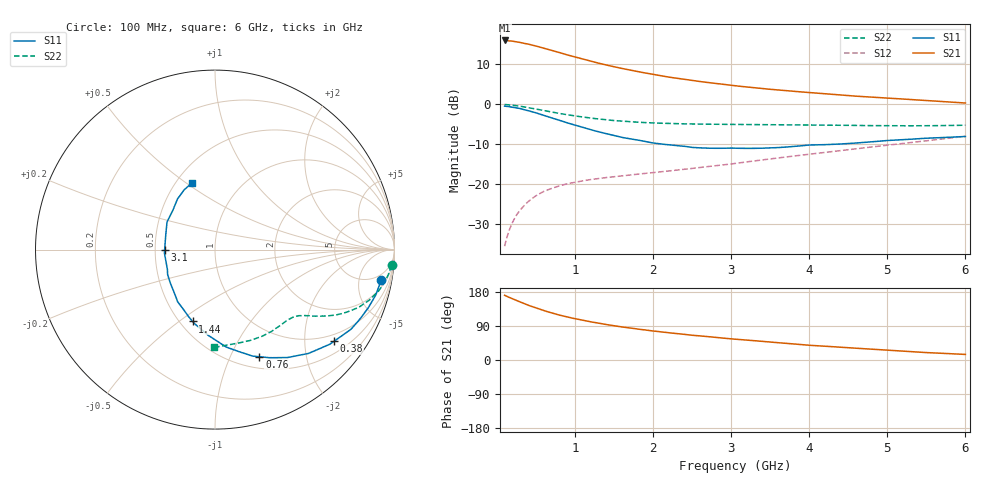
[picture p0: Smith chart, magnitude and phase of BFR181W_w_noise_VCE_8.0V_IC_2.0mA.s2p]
! Infineon Technologies  Discrete & RF Semiconductors
! BFR181W
! VCE =  8.0 V,  IC =  2.0 mA
! Common Emitter S-Parameters:  Nov 2015
# GHz  S  MA  R  50
!  f  S11  S21  S12  S22
! GHz  MAG  ANG  MAG  ANG  MAG  ANG  MAG  ANG
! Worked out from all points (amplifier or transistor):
!   192 points, 100 MHz to 6 GHz, reference 50 ohm
!   highest |S21| = 15.9 dB at 100 MHz (marker M1)
!   |S21| within 3 dB of that: start of sweep to 800.3 MHz
!   unconditionally stable (mu >= 1): 2.17 GHz to 3.613 GHz
!   at 440 MHz: K = 0.28, MSG = 19.3 dB, |S12| = -23.8 dB
!   at 1.7 GHz: K = 0.88, MSG = 13.1 dB, |S12| = -17.7 dB
!   at 6 GHz: K = 0.80, MSG = 4.2 dB, |S12| = -8.1 dB
!   lowest NFmin = 1.35 dB at 450 MHz
!   S11 on the Smith chart (normalised r, x): 100 MHz: 3, -10; 380 MHz: 0.80, -2.73; 760 MHz: 0.63, -1.29; 1.44 GHz: 0.58, -0.56; 3.1 GHz: 0.56, -0.00; 6 GHz: 0.60, +0.53
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0.1  0.9412 -10.5  6.207 170.8  0.0169 83.6  0.9877 -5.1
0.155  0.9288 -16.2  6.154 165.6  0.0261 80.3  0.9777 -7.7
0.24  0.8989 -24.6  5.999 158.1  0.0394 75.3  0.9566 -11.7
0.38  0.8371 -37.6  5.641 146.4  0.0579 68.5  0.9109 -17.4
0.4  0.829 -39.5  5.6 144.6  0.0605 67.7  0.9042 -18.2
0.5  0.7785 -48.0  5.296 137.3  0.0717 63.5  0.8671 -21.5
0.6  0.7246 -56.1  4.993 130.5  0.0812 60.1  0.8305 -24.2
0.7  0.6735 -63.4  4.678 124.1  0.0886 57.3  0.7958 -26.5
0.76  0.646 -67.5  4.503 120.9  0.0927 55.9  0.7768 -27.7
0.9  0.5837 -76.8  4.106 113.5  0.1012 53.4  0.7361 -30.0
1  0.5473 -83.3  3.87 109.0  0.106 51.9  0.711 -31.4
1.1  0.5112 -88.5  3.636 105.2  0.1102 50.9  0.6895 -32.5
1.2  0.4798 -94.4  3.421 100.8  0.1144 50.0  0.6682 -33.7
1.44  0.4191 -107.3  3.008 92.4  0.1223 49.2  0.6306 -35.7
1.6  0.3843 -115.5  2.783 87.3  0.1273 49.3  0.6127 -36.9
1.8  0.3574 -125.6  2.544 81.7  0.1335 49.7  0.5934 -38.4
2.08  0.3196 -138.1  2.271 74.8  0.1423 51.0  0.5774 -40.6
2.5  0.288 -156.7  1.963 65.3  0.1574 53.1  0.5638 -43.9
3.1  0.2808 -179.8  1.671 54.2  0.1845 56.2  0.5564 -50.1
4.1  0.3096 147.3  1.366 37.7  0.2431 58.2  0.5477 -62.8
5.1  0.355 124.6  1.171 24.5  0.3146 57.1  0.5361 -77.2
6  0.3941 108.6  1.03 14.7  0.3954 54.0  0.5447 -90.4
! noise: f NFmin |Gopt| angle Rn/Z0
0.45  1.35  0.6  17  0.4
0.9  1.45  0.5  36  0.4
1.8  1.8  0.31  80  0.37
